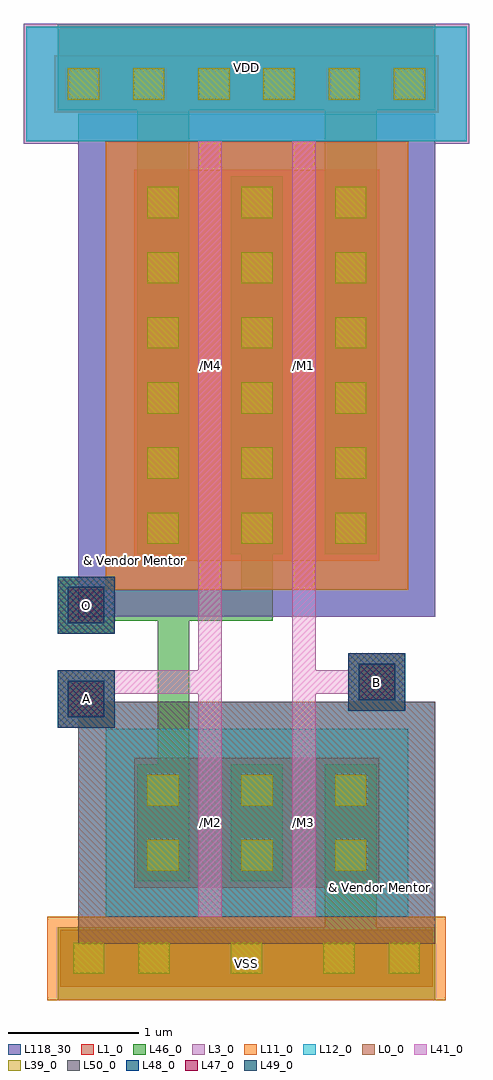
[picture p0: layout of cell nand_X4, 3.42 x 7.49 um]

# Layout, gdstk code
import gdstk
lib = gdstk.Library(unit=1e-6, precision=1e-09)
def R(c, l, rs):  # rectangles x0, y0, x1, y1
    for r in rs: c.add(gdstk.rectangle(r[:2], r[2:], *l))
def A(c, l, x, y, w, h, nx, ny, dx, dy):  # array of equal rectangles
    R(c, l, [(x+i*dx, y+j*dy, x+i*dx+w, y+j*dy+h) for i in range(nx) for j in range(ny)])
def P(c, l, *ps):  # polygons
    for p in ps: c.add(gdstk.Polygon(p, *l))
L0_0 = (0, 0)
L1_0 = (1, 0)
L3_0 = (3, 0)
L11_0 = (11, 0)
L12_0 = (12, 0)
L39_0 = (39, 0)
L41_0 = (41, 0)
L46_0 = (46, 0)
L47_0 = (47, 0)
L48_0 = (48, 0)
L49_0 = (49, 0)
L50_0 = (50, 0)
L118_30 = (118, 30)

m1m2 = lib.new_cell('M1M2')
R(m1m2, L46_0, [(-0.22,-0.22,0.22,0.22)])
R(m1m2, L47_0, [(-0.14,-0.14,0.14,0.14)])
R(m1m2, L48_0, [(-0.22,-0.22,0.22,0.22)])

m2m3 = lib.new_cell('M2M3')
R(m2m3, L48_0, [(-0.22,-0.22,0.22,0.22)])
R(m2m3, L49_0, [(-0.14,-0.14,0.14,0.14)])
R(m2m3, L50_0, [(-0.22,-0.22,0.22,0.22)])

mpoly = lib.new_cell('MPOLY')
R(mpoly, L39_0, [(-0.12,-0.12,0.12,0.12)])
R(mpoly, L41_0, [(-0.22,-0.22,0.22,0.22)])
R(mpoly, L46_0, [(-0.2,-0.2,0.2,0.2)])

nand_x4 = lib.new_cell('nand_X4')
R(nand_x4, L0_0, [(3.04,-4.66,5.78,-2.8)])
R(nand_x4, L1_0, [(2.9,-4.99,5.76,-4.55), (3.47,-4.23,5.35,-3.23), (3.47,-4.23,3.96,-3.23), (4.86,-4.23,5.35,-3.23), (3.47,-1.72,5.35,1.28), (3.47,-1.72,3.96,1.28), (4.86,-1.72,5.35,1.28), (2.86,1.72,5.8,2.16)])
R(nand_x4, L3_0, [(3.04,-2.15,5.78,1.71), (2.62,1.48,6.04,2.4)])
R(nand_x4, L11_0, [(2.8,-5.09,5.86,-4.45), (3.25,-1.94,5.57,1.5)])
R(nand_x4, L12_0, [(3.25,-4.45,5.57,-3.01), (2.64,1.5,6.02,2.38)])
A(nand_x4, L39_0, 3.5, -4.89, 0.24, 0.24, 3, 1, 0.71, 0)
A(nand_x4, L39_0, 3.57, -4.1, 0.24, 0.24, 3, 2, 0.72, 0.5)
A(nand_x4, L39_0, 3.57, -1.59, 0.24, 0.24, 3, 6, 0.72, 0.5)
A(nand_x4, L39_0, 2.96, 1.82, 0.24, 0.24, 6, 1, 0.5, 0)
R(nand_x4, L39_0, [(3,-4.89,3.24,-4.65), (5.42,-4.89,5.66,-4.65)])
R(nand_x4, L41_0, [(3.96,-4.45,4.14,-4.23), (4.68,-4.45,4.86,-4.23), (3.96,-4.23,4.14,-3.23), (4.68,-4.23,4.86,-3.23), (3.96,-3.23,4.14,-3.01), (4.68,-3.23,4.86,-3.01), (3.96,-3.19,4.14,-2.56), (4.68,-3.19,4.86,-2.56), (3.01,-2.87,3.19,-2.56), (3.03,-2.74,4.14,-2.56), (3.96,-2.74,4.14,-1.76), (4.68,-2.74,5.42,-2.56), (4.68,-2.74,4.86,-1.76), (3.96,-1.94,4.14,-1.72), (4.68,-1.94,4.86,-1.72), (3.96,-1.72,4.14,1.28), (4.68,-1.72,4.86,1.28), (3.96,1.28,4.14,1.5), (4.68,1.28,4.86,1.5)])
A(nand_x4, L46_0, 3.49, -4.18, 0.4, 0.9, 3, 1, 0.72, 0)
A(nand_x4, L46_0, 3.49, -1.67, 0.4, 2.9, 3, 1, 0.72, 0)
R(nand_x4, L46_0, [(2.88,-5.09,5.78,-4.53), (2.88,-5.01,5.78,-4.53), (4.93,-4.93,5.33,-3.78), (3.65,-3.52,3.89,-1.94), (2.98,-2.18,3.89,-1.94), (3.49,0.83,3.89,2.14), (4.93,0.83,5.33,2.14), (2.88,1.74,5.78,2.14), (2.88,1.74,5.78,2.4)])
P(nand_x4, L46_0, [(3.65,-2.18),(4.53,-2.18),(4.53,-1.43),(4.29,-1.43),(4.29,-1.94),(3.65,-1.94)])
R(nand_x4, L50_0, [(2.88,-3,3.32,-2.56), (5.11,-2.87,5.55,-2.43), (2.88,-2.28,3.32,-1.84)])
R(nand_x4, L118_30, [(3.04,-4.66,5.78,-2.8), (3.04,-2.15,5.78,1.71)])
nand_x4.add(gdstk.Reference(m1m2, (3.1,-2.78)))
nand_x4.add(gdstk.Reference(m1m2, (3.1,-2.06)))
nand_x4.add(gdstk.Reference(m2m3, (5.33,-2.65)))
nand_x4.add(gdstk.Reference(m2m3, (3.1,-2.06)))
nand_x4.add(gdstk.Reference(mpoly, (3.1,-2.78)))
nand_x4.add(gdstk.Reference(mpoly, (5.33,-2.65)))
nand_x4.add(gdstk.Reference(m1m2, (5.33,-2.65)))
nand_x4.add(gdstk.Reference(m2m3, (3.1,-2.78)))
nand_x4.add(gdstk.Label('/M3', (4.77,-3.73), layer=85, texttype=0))
nand_x4.add(gdstk.Label('/M2', (4.05,-3.73), layer=85, texttype=0))
nand_x4.add(gdstk.Label('& Vendor Mentor', (5.35,-4.23), layer=63, texttype=63))
nand_x4.add(gdstk.Label('& Product UMC180FDKMFM', (5.35,-4.23), layer=63, texttype=63))
nand_x4.add(gdstk.Label('& Version A01', (5.35,-4.23), layer=63, texttype=63))
nand_x4.add(gdstk.Label('& Metric 0', (5.35,-4.23), layer=63, texttype=63))
nand_x4.add(gdstk.Label('& _PublicCode', (5.35,-4.23), layer=63, texttype=63))
nand_x4.add(gdstk.Label('/M4', (4.05,-0.22), layer=85, texttype=0))
nand_x4.add(gdstk.Label('/M1', (4.77,-0.22), layer=85, texttype=0))
nand_x4.add(gdstk.Label('& Vendor Mentor', (3.47,-1.72), layer=63, texttype=63))
nand_x4.add(gdstk.Label('& Product UMC180FDKMFM', (3.47,-1.72), layer=63, texttype=63))
nand_x4.add(gdstk.Label('& Version A01', (3.47,-1.72), layer=63, texttype=63))
nand_x4.add(gdstk.Label('& Metric 0', (3.47,-1.72), layer=63, texttype=63))
nand_x4.add(gdstk.Label('& _PublicCode', (3.47,-1.72), layer=63, texttype=63))
nand_x4.add(gdstk.Label('A', (3.1,-2.78), layer=103, texttype=0))
nand_x4.add(gdstk.Label('O', (3.1,-2.06), layer=103, texttype=0))
nand_x4.add(gdstk.Label('B', (5.33,-2.65), layer=103, texttype=0))
nand_x4.add(gdstk.Label('VSS', (4.33,-4.81), layer=101, texttype=0))
nand_x4.add(gdstk.Label('VDD', (4.33,2.07), layer=101, texttype=0))

lib.write_gds('nand_X4.gds')
